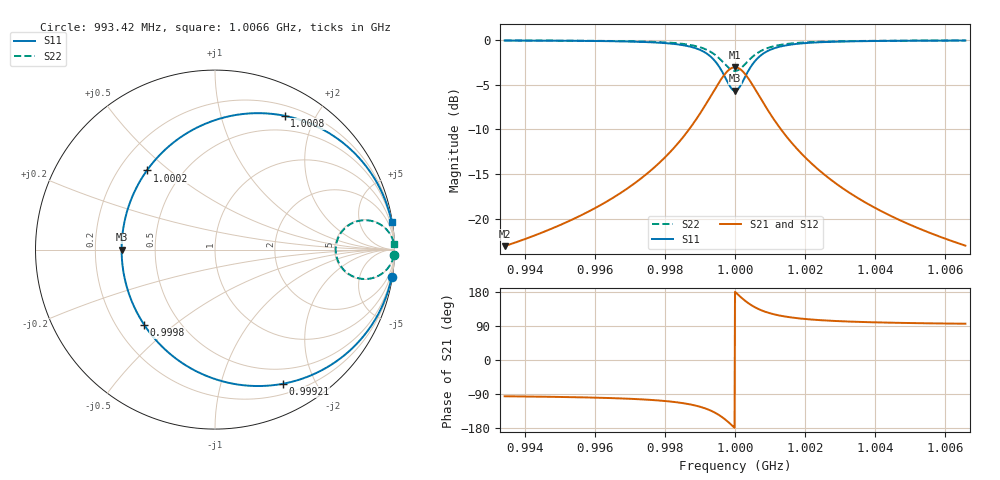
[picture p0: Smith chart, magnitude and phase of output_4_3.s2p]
! File generated for n1 = 4, n2 = 3
! b1 = 10.000000
! b2 = 2.154435
! Q0 = 10000.000000
! f0 = 1000000000.000000
! n = 1001
! rel_span = 10.000000
# Hz S RI R 50
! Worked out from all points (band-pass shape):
!   1001 points, 993.42 MHz to 1.0066 GHz, reference 50 ohm
!   highest |S21| = -3.03 dB at 1 GHz (marker M1); lowest = -23.1 dB at 993.42 MHz (marker M2)
!   |S21| within 3 dB of the highest: 999.3441 MHz to 1.000656 GHz (1.312 MHz wide, 0.131 % of centre)
!   lowest |S11| = -5.7 dB at 1 GHz (marker M3), VSWR 3.17, Z = 15.8 + j0 ohm
!   |S11| at or under -10 dB: nowhere
!   |S22| runs from -3.4 to 0.0 dB; largest |S21 - S12| = 0
!   S11 on the Smith chart (normalised r, x): 993.42 MHz: 0, -13; 999.21 MHz: 0.32, -1.58; 999.8 MHz: 0.32, -0.39; 1.0002 GHz: 0.32, +0.42; 1.0008 GHz: 0.32, +1.60; 1.0066 GHz: 0, +13
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9.934228e8  0.985 -0.15  -0.00694 -0.0696  -0.00694 -0.0696  0.9968 -0.0323
9.956196e8  0.9666 -0.2228  -0.0155 -0.1034  -0.0155 -0.1034  0.9928 -0.048
9.968692e8  0.9359 -0.3055  -0.0297 -0.1418  -0.0297 -0.1418  0.9862 -0.0658
9.978164e8  0.8738 -0.4195  -0.0586 -0.1947  -0.0586 -0.1947  0.9728 -0.0904
9.986582e8  0.7058 -0.6007  -0.1366 -0.2788  -0.1366 -0.2788  0.9366 -0.1294
9.989608e8  0.5655 -0.6869  -0.2017 -0.3188  -0.2017 -0.3188  0.9064 -0.148
9.992107e8  0.3772 -0.7477  -0.2891 -0.347  -0.2891 -0.347  0.8658 -0.1611
9.995396e8  -0.0202 -0.7143  -0.4736 -0.3316  -0.4736 -0.3316  0.7802 -0.1539
9.996711e8  -0.2162 -0.6082  -0.5645 -0.2823  -0.5645 -0.2823  0.738 -0.131
9.998027e8  -0.3948 -0.4185  -0.6474 -0.1942  -0.6474 -0.1942  0.6995 -0.0902
1e9  -0.5204 0  -0.7057 0  -0.7057 0  0.6724 0
1.000105e9  -0.4825 0.2372  -0.6881 0.1101  -0.6881 0.1101  0.6806 0.0511
1.00021e9  -0.3792 0.4413  -0.6402 0.2048  -0.6402 0.2048  0.7029 0.0951
1.000329e9  -0.2164 0.6081  -0.5646 0.2823  -0.5646 0.2823  0.7379 0.131
1.00046e9  -0.0206 0.7142  -0.4737 0.3315  -0.4737 0.3315  0.7801 0.1539
1.000605e9  0.1763 0.7575  -0.3823 0.3516  -0.3823 0.3516  0.8225 0.1632
1.000802e9  0.3887 0.7455  -0.2837 0.346  -0.2837 0.346  0.8683 0.1606
1.001052e9  0.5726 0.6835  -0.1984 0.3172  -0.1984 0.3172  0.9079 0.1473
1.001355e9  0.7097 0.5976  -0.1347 0.2774  -0.1347 0.2774  0.9375 0.1287
1.002197e9  0.8747 0.4181  -0.0582 0.1941  -0.0582 0.1941  0.973 0.0901
1.004394e9  0.9665 0.2231  -0.0155 0.1035  -0.0155 0.1035  0.9928 0.0481
1.006577e9  0.9848 0.151  -0.00703 0.0701  -0.00703 0.0701  0.9967 0.0325
